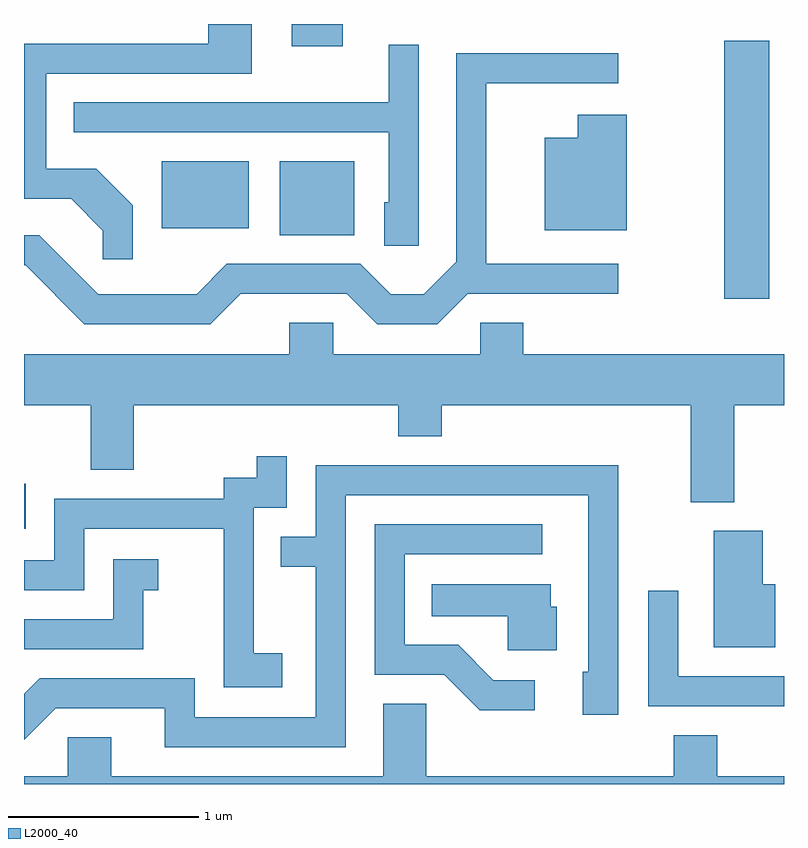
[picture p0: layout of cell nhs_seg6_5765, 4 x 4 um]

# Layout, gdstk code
import gdstk
lib = gdstk.Library(unit=1e-6, precision=1e-09)
def R(c, l, rs):  # rectangles x0, y0, x1, y1
    for r in rs: c.add(gdstk.rectangle(r[:2], r[2:], *l))
def P(c, l, *ps):  # polygons
    for p in ps: c.add(gdstk.Polygon(p, *l))
L2000_40 = (2000, 40)

nhs_seg6_5765 = lib.new_cell('nhs_seg6_5765')
R(nhs_seg6_5765, L2000_40, [(359.611,1651.506,359.619,1651.743), (363.296,1652.716,363.534,1654.074), (360.956,1653.051,361.349,1653.439), (360.336,1653.086,360.794,1653.439), (361.021,1654.046,361.289,1654.162)])
P(nhs_seg6_5765, L2000_40, [(360.184,1653.207),(359.992,1653.399),(359.729,1653.399),(359.729,1653.901),(360.809,1653.901),(360.809,1654.162),(360.581,1654.162),(360.581,1654.059),(359.611,1654.059),(359.611,1653.241),(359.859,1653.241),(360.026,1653.074),(360.026,1652.923),(360.184,1652.923)],
  [(361.689,1654.053),(361.531,1654.053),(361.531,1653.749),(359.873,1653.749),(359.873,1653.591),(361.531,1653.591),(361.531,1653.224),(361.506,1653.224),(361.506,1652.996),(361.689,1652.996)],
  [(360.752,1652.741),(361.309,1652.741),(361.469,1652.581),(361.787,1652.581),(361.947,1652.741),(362.738,1652.741),(362.738,1652.899),(362.044,1652.899),(362.044,1653.851),(362.738,1653.851),(362.738,1654.009),(361.886,1654.009),(361.886,1652.912),(361.714,1652.739),(361.542,1652.739),(361.382,1652.899),(360.679,1652.899),(360.519,1652.739),(360.002,1652.739),(359.692,1653.049),(359.611,1653.049),(359.611,1652.891),(359.619,1652.891),(359.929,1652.581),(360.592,1652.581)],
  [(362.784,1653.684),(362.526,1653.684),(362.526,1653.564),(362.351,1653.564),(362.351,1653.076),(362.784,1653.076)],
  [(363.349,1652.156),(363.611,1652.156),(363.611,1652.424),(362.239,1652.424),(362.239,1652.589),(362.011,1652.589),(362.011,1652.424),(361.239,1652.424),(361.239,1652.589),(361.006,1652.589),(361.006,1652.424),(359.611,1652.424),(359.611,1652.156),(359.961,1652.156),(359.961,1651.816),(360.189,1651.816),(360.189,1652.156),(361.581,1652.156),(361.581,1651.991),(361.809,1651.991),(361.809,1652.156),(363.121,1652.156),(363.121,1651.646),(363.349,1651.646)],
  [(360.969,1650.849),(360.819,1650.849),(360.819,1651.616),(360.994,1651.616),(360.994,1651.888),(360.836,1651.888),(360.836,1651.774),(360.661,1651.774),(360.661,1651.664),(359.771,1651.664),(359.771,1651.339),(359.611,1651.339),(359.611,1651.181),(359.929,1651.181),(359.929,1651.506),(360.661,1651.506),(360.661,1650.671),(360.969,1650.671)],
  [(361.304,1651.681),(362.581,1651.681),(362.581,1650.754),(362.551,1650.754),(362.551,1650.526),(362.739,1650.526),(362.739,1651.839),(361.146,1651.839),(361.146,1651.464),(360.963,1651.464),(360.963,1651.306),(361.146,1651.306),(361.146,1650.514),(360.509,1650.514),(360.509,1650.719),(359.694,1650.719),(359.611,1650.636),(359.611,1650.395),(359.777,1650.561),(360.351,1650.561),(360.351,1650.356),(361.304,1650.356)],
  [(362.298,1650.709),(362.082,1650.709),(361.897,1650.894),(361.614,1650.894),(361.614,1651.371),(362.338,1651.371),(362.338,1651.529),(361.456,1651.529),(361.456,1650.736),(361.824,1650.736),(362.009,1650.551),(362.298,1650.551)],
  [(363.564,1651.214),(363.499,1651.214),(363.499,1651.494),(363.241,1651.494),(363.241,1650.881),(363.564,1650.881)],
  [(360.239,1651.181),(360.318,1651.181),(360.318,1651.344),(360.081,1651.344),(360.081,1651.029),(359.611,1651.029),(359.611,1650.871),(360.239,1650.871)],
  [(362.414,1651.094),(362.384,1651.094),(362.384,1651.214),(361.758,1651.214),(361.758,1651.046),(362.156,1651.046),(362.156,1650.866),(362.414,1650.866)],
  [(363.611,1650.729),(363.054,1650.729),(363.054,1651.178),(362.896,1651.178),(362.896,1650.571),(363.611,1650.571)],
  [(363.611,1650.204),(363.259,1650.204),(363.259,1650.419),(363.031,1650.419),(363.031,1650.204),(361.729,1650.204),(361.729,1650.584),(361.501,1650.584),(361.501,1650.204),(360.069,1650.204),(360.069,1650.409),(359.841,1650.409),(359.841,1650.204),(359.611,1650.204),(359.611,1650.162),(363.611,1650.162)])

lib.write_gds('nhs_seg6_5765.gds')
